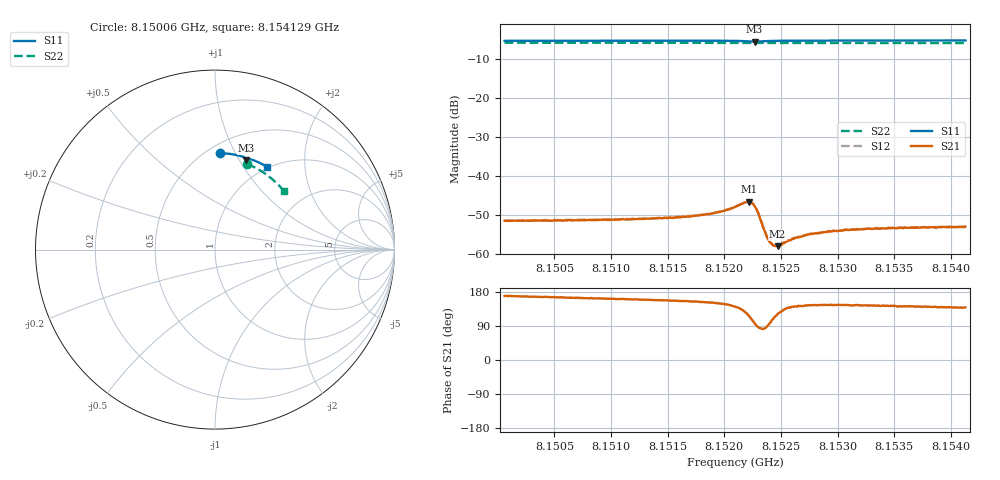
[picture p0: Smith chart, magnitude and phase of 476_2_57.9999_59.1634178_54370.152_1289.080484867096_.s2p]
#  HZ  S  RI  R  50.00
! Rohde & Schwarz Vector Network Analyzer
! Rohde-Schwarz,ZNB20-2Port,1311601062101988,3.16
! Created: UTC 3/21/2024, 1:11:40 AM
! freq[Hz]  re:S11  im:S11  re:S21  im:S21  re:S12  im:S12  re:S22  im:S22
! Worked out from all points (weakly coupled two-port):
!   401 points, 8.15006 GHz to 8.154129 GHz, reference 50 ohm
!   highest |S21| = -46.67 dB at 8.152217 GHz (marker M1); lowest = -58.1 dB at 8.152471 GHz (marker M2)
!   lowest |S11| = -5.6 dB at 8.152268 GHz (marker M3), VSWR 3.21, Z = 38.8 + j53.3 ohm
!   |S11| at or under -10 dB: nowhere
!   |S22| runs from -6.0 to -5.9 dB; largest |S21 - S12| = 0.00013
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8.15006e9  0.0276 0.5375  -0.00259 0.000513  -0.0026 0.000523  0.1802 0.4767
8.1507416e9  0.0752 0.5342  -0.00259 0.000771  -0.00257 0.000805  0.22 0.4586
8.1514232e9  0.1223 0.5262  -0.00267 0.00108  -0.00266 0.00114  0.258 0.4371
8.1515555e9  0.1317 0.5243  -0.00264 0.00115  -0.00267 0.00125  0.2651 0.4327
8.15182e9  0.1505 0.5191  -0.00281 0.00144  -0.0028 0.00149  0.2792 0.4234
8.1519827e9  0.1626 0.5148  -0.00298 0.00184  -0.00296 0.00187  0.2877 0.4171
8.1520946e9  0.1712 0.5099  -0.00308 0.00251  -0.00307 0.00258  0.2934 0.4129
8.1521862e9  0.1766 0.5021  -0.00268 0.00367  -0.00264 0.00374  0.2979 0.4091
8.1522167e9  0.1762 0.4988  -0.00208 0.00415  -0.00203 0.00418  0.2992 0.4078
8.1522472e9  0.1741 0.4967  -0.00115 0.00426  -0.0011 0.00434  0.3007 0.4067
8.1522676e9  0.172 0.4965  -0.000512 0.00403  -0.000457 0.0041  0.3015 0.4059
8.1522981e9  0.1702 0.4988  0.000175 0.00336  0.000194 0.00335  0.303 0.405
8.1523592e9  0.1727 0.5043  0.000208 0.00191  0.000218 0.00191  0.306 0.4029
8.1523897e9  0.1755 0.5057  -6.46e-05 0.0015  -4.22e-05 0.00153  0.3076 0.4016
8.15241e9  0.1774 0.5063  -0.00024 0.00136  -0.000207 0.00134  0.3087 0.4011
8.1524304e9  0.1794 0.5067  -0.000398 0.00121  -0.000386 0.00122  0.3098 0.4
8.1524711e9  0.1833 0.5066  -0.000654 0.00106  -0.000664 0.00109  0.3117 0.3984
8.1526237e9  0.1958 0.5042  -0.00124 0.000987  -0.00124 0.00101  0.3193 0.3924
8.1527763e9  0.2068 0.5008  -0.00148 0.00105  -0.00145 0.00102  0.3267 0.3859
8.1530713e9  0.2268 0.4929  -0.00165 0.00115  -0.00165 0.00121  0.3403 0.3733
8.1534579e9  0.2515 0.4816  -0.00168 0.00131  -0.00171 0.00133  0.3576 0.3559
8.1541293e9  0.2923 0.4592  -0.00167 0.00146  -0.00163 0.00153  0.3852 0.3242
